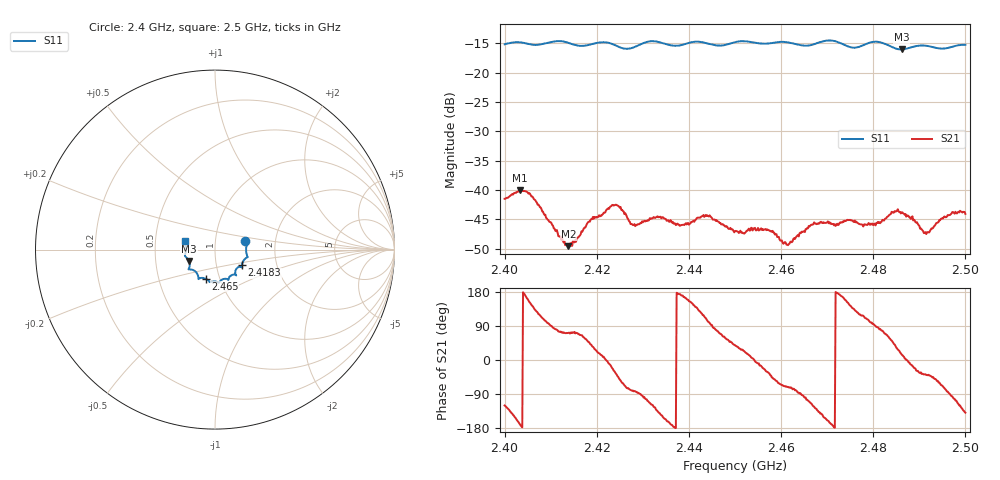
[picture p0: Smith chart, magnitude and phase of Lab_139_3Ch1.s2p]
# Hz S RI R 50
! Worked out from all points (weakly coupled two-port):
!   601 points, 2.4 GHz to 2.5 GHz, reference 50 ohm
!   highest |S21| = -40.02 dB at 2.4033 GHz (marker M1); lowest = -49.6 dB at 2.4138 GHz (marker M2)
!   lowest |S11| = -16.0 dB at 2.4862 GHz (marker M3), VSWR 1.38, Z = 37.1 - j4.84 ohm
!   |S11| at or under -10 dB: start of sweep to end of sweep
!   S12 and S22 are empty: the file has one direction only
!   S11 on the Smith chart (normalised r, x): 2.4 GHz: 1.40, +0.13; 2.4183 GHz: 1.33, -0.24; 2.465 GHz: 0.86, -0.29; 2.5 GHz: 0.71, +0.07
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2.4e9  0.1688 0.0455  -0.00422 -0.0073  0 0  0 0
2.403333e9  0.1793 0.0308  -0.00983 -0.00172  0 0  0 0
2.405833e9  0.1735 0.011  -0.00725 0.00504  0 0  0 0
2.413833e9  0.1738 -0.0465  0.00105 0.00316  0 0  0 0
2.416667e9  0.1551 -0.0685  0.00186 0.00404  0 0  0 0
2.418333e9  0.1498 -0.0871  0.00366 0.00396  0 0  0 0
2.423833e9  0.1435 -0.0964  0.00646 -0.00367  0 0  0 0
2.427833e9  0.1143 -0.117  0.000825 -0.00497  0 0  0 0
2.433333e9  0.1164 -0.1414  -0.00431 -0.00398  0 0  0 0
2.4385e9  0.0796 -0.1534  -0.00498 0.000868  0 0  0 0
2.444167e9  0.0672 -0.164  -0.00115 0.00591  0 0  0 0
2.45e9  0.0252 -0.1807  0.00346 0.00281  0 0  0 0
2.457e9  -0.00989 -0.1772  0.00395 -0.0024  0 0  0 0
2.461333e9  -0.0311 -0.1792  0.00111 -0.00324  0 0  0 0
2.465e9  -0.0527 -0.162  -0.000616 -0.00444  0 0  0 0
2.466667e9  -0.0713 -0.1576  -0.00224 -0.00456  0 0  0 0
2.480167e9  -0.1473 -0.1102  -0.000305 0.00512  0 0  0 0
2.483333e9  -0.1419 -0.0959  0.00292 0.00529  0 0  0 0
2.486167e9  -0.1447 -0.0636  0.00626 0.00163  0 0  0 0
2.4915e9  -0.1672 -0.0306  0.00326 -0.00267  0 0  0 0
2.496833e9  -0.1632 0.0259  -0.000385 -0.00622  0 0  0 0
2.5e9  -0.1666 0.0475  -0.00473 -0.00412  0 0  0 0
